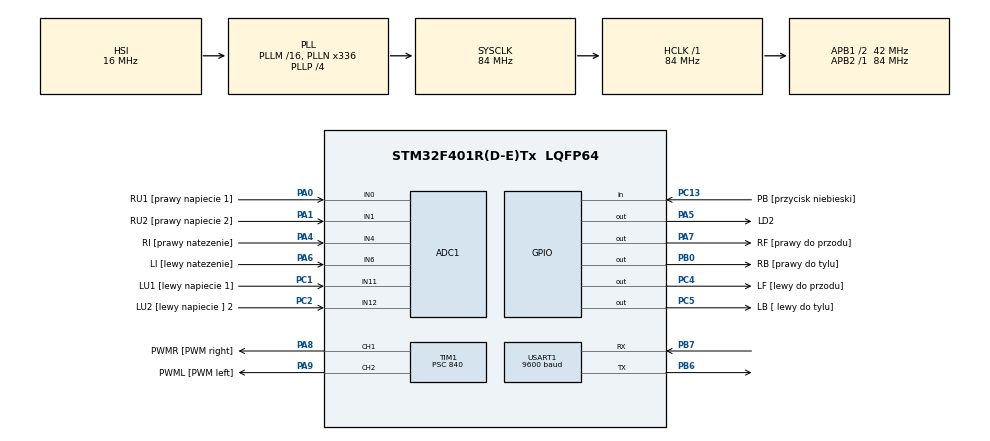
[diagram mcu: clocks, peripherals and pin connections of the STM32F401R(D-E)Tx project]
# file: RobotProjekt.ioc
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ADC1.Channel-0\#ChannelRegularConversion=ADC_CHANNEL_1
ADC1.Channel-1\#ChannelRegularConversion=ADC_CHANNEL_0
ADC1.Channel-2\#ChannelRegularConversion=ADC_CHANNEL_11
ADC1.Channel-3\#ChannelRegularConversion=ADC_CHANNEL_12
ADC1.Channel-4\#ChannelRegularConversion=ADC_CHANNEL_4
ADC1.Channel-5\#ChannelRegularConversion=ADC_CHANNEL_6
ADC1.DMAContinuousRequests=ENABLE
ADC1.EOCSelection=ADC_EOC_SEQ_CONV
ADC1.ExternalTrigConv=ADC_EXTERNALTRIGCONV_T2_TRGO
ADC1.NbrOfConversion=6
ADC1.NbrOfConversionFlag=1
ADC1.Rank-0\#ChannelRegularConversion=1
ADC1.Rank-1\#ChannelRegularConversion=2
ADC1.Rank-2\#ChannelRegularConversion=3
ADC1.Rank-3\#ChannelRegularConversion=4
ADC1.Rank-4\#ChannelRegularConversion=5
ADC1.Rank-5\#ChannelRegularConversion=6
ADC1.SamplingTime-0\#ChannelRegularConversion=ADC_SAMPLETIME_28CYCLES
ADC1.SamplingTime-1\#ChannelRegularConversion=ADC_SAMPLETIME_28CYCLES
ADC1.SamplingTime-2\#ChannelRegularConversion=ADC_SAMPLETIME_28CYCLES
ADC1.SamplingTime-3\#ChannelRegularConversion=ADC_SAMPLETIME_28CYCLES
ADC1.SamplingTime-4\#ChannelRegularConversion=ADC_SAMPLETIME_3CYCLES
ADC1.SamplingTime-5\#ChannelRegularConversion=ADC_SAMPLETIME_3CYCLES
ADC1.ScanConvMode=ENABLE
ADC1.master=1
Dma.ADC1.0.Direction=DMA_PERIPH_TO_MEMORY
Dma.ADC1.0.FIFOMode=DMA_FIFOMODE_DISABLE
Dma.ADC1.0.Instance=DMA2_Stream0
Dma.ADC1.0.MemDataAlignment=DMA_MDATAALIGN_WORD
Dma.ADC1.0.MemInc=DMA_MINC_ENABLE
Dma.ADC1.0.Mode=DMA_CIRCULAR
Dma.ADC1.0.PeriphDataAlignment=DMA_PDATAALIGN_WORD
Dma.ADC1.0.PeriphInc=DMA_PINC_DISABLE
Dma.ADC1.0.Priority=DMA_PRIORITY_LOW
Dma.Request0=ADC1
FREERTOS.BinarySemaphores01=bSem1,Dynamic,NULL;bSem2,Dynamic,NULL;bSem3,Dynamic,NULL
FREERTOS.Tasks01=defaultTask,0,128,StartDefaultTask,Default,NULL,Dynamic,NULL,NULL;btRead,3,128,StartBtRead,Default,NULL,Dynamic,NULL,NULL;motorControl,-1,128,StartMotorControl,Default,NULL,Dynamic,NULL,NULL;adcAvgVal,1,128,StartAdcAvgVal,Default,NULL,Dynamic,NULL,NULL
Mcu.Family=STM32F4
Mcu.Name=STM32F401R(D-E)Tx
Mcu.Package=LQFP64
NVIC.ADC_IRQn=true\:5\:0\:false\:false\:true\:true\:true\:true
NVIC.DMA2_Stream0_IRQn=true\:5\:0\:false\:false\:true\:true\:false\:true
NVIC.PriorityGroup=NVIC_PRIORITYGROUP_4
NVIC.TIM2_IRQn=true\:5\:0\:false\:false\:true\:true\:true\:true
NVIC.TIM3_IRQn=true\:0\:0\:false\:false\:true\:false\:false\:true
NVIC.TimeBase=TIM3_IRQn
NVIC.TimeBaseIP=TIM3
NVIC.USART1_IRQn=true\:5\:0\:true\:false\:true\:true\:true\:true
PA0-WKUP.GPIO_Label=RU1 [prawy napiecie 1]
PA0-WKUP.Signal=ADCx_IN0
PA1.GPIO_Label=RU2 [prawy napiecie 2]
PA1.Signal=ADCx_IN1
PA4.GPIO_Label=RI [prawy natezenie]
PA4.Signal=ADCx_IN4
PA5.GPIO_Label=LD2
PA5.Signal=GPIO_Output
PA6.GPIO_Label=LI [lewy natezenie]
PA6.Signal=ADCx_IN6
PA7.GPIO_Label=RF [prawy do przodu]
PA7.Signal=GPIO_Output
PA8.GPIO_Label=PWMR [PWM right]
PA8.Signal=S_TIM1_CH1
PA9.GPIO_Label=PWML [PWM left]
PA9.Signal=S_TIM1_CH2
PB0.GPIO_Label=RB [prawy do tylu]
PB0.Signal=GPIO_Output
PB6.Mode=Asynchronous
PB6.Signal=USART1_TX
PB7.Mode=Asynchronous
PB7.Signal=USART1_RX
PC1.GPIO_Label=LU1 [lewy napiecie 1]
PC1.Signal=ADCx_IN11
PC13-ANTI_TAMP.GPIO_Label=PB [przycisk niebieski]
PC13-ANTI_TAMP.Signal=GPIO_Input
PC2.GPIO_Label=LU2 [lewy napiecie ] 2
PC2.Signal=ADCx_IN12
PC4.GPIO_Label=LF [lewy do przodu]
PC4.Signal=GPIO_Output
PC5.GPIO_Label=LB [ lewy do tylu]
PC5.Signal=GPIO_Output
ProjectManager.HeapSize=0x200
ProjectManager.StackSize=0x400
ProjectManager.TargetToolchain=STM32CubeIDE
RCC.48MHZClocksFreq_Value=48000000
RCC.AHBFreq_Value=84000000
RCC.APB1CLKDivider=RCC_HCLK_DIV2
RCC.APB1Freq_Value=42000000
RCC.APB1TimFreq_Value=84000000
RCC.APB2Freq_Value=84000000
RCC.APB2TimFreq_Value=84000000
RCC.CortexFreq_Value=84000000
RCC.HCLKFreq_Value=84000000
RCC.HSE_VALUE=8000000
RCC.HSI_VALUE=16000000
RCC.LSE_VALUE=32768
RCC.PLLN=336
RCC.PLLP=RCC_PLLP_DIV4
RCC.PLLQ=7
RCC.SYSCLKFreq_VALUE=84000000
RCC.SYSCLKSource=RCC_SYSCLKSOURCE_PLLCLK
RCC.VCOOutputFreq_Value=336000000
SH.ADCx_IN0.0=ADC1_IN0,IN0
SH.ADCx_IN1.0=ADC1_IN1,IN1
SH.ADCx_IN11.0=ADC1_IN11,IN11
SH.ADCx_IN12.0=ADC1_IN12,IN12
SH.ADCx_IN4.0=ADC1_IN4,IN4
SH.ADCx_IN6.0=ADC1_IN6,IN6
SH.S_TIM1_CH1.0=TIM1_CH1,PWM Generation1 CH1
SH.S_TIM1_CH2.0=TIM1_CH2,PWM Generation2 CH2
TIM1.Channel-PWM\ Generation1\ CH1=TIM_CHANNEL_1
TIM1.Channel-PWM\ Generation2\ CH2=TIM_CHANNEL_2
TIM1.Channel-PWM\ Generation3\ No\ Output=TIM_CHANNEL_3
TIM1.Period=1000
TIM1.Prescaler=840
TIM2.Period=4
TIM2.Prescaler=5599
TIM2.TIM_MasterOutputTrigger=TIM_TRGO_UPDATE
USART1.BaudRate=9600
USART1.VirtualMode=VM_ASYNC
VP_FREERTOS_VS_CMSIS_V1.Mode=CMSIS_V1
VP_SYS_VS_tim3.Mode=TIM3
VP_TIM1_VS_ClockSourceINT.Mode=Internal
VP_TIM1_VS_no_output3.Mode=PWM Generation3 No Output
VP_TIM2_VS_ClockSourceINT.Mode=Internal
board=NUCLEO-F401RE

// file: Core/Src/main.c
/* USER CODE BEGIN Header */
/**
  ******************************************************************************
  * @file           : main.c
  * @brief          : Main program body
  ******************************************************************************
  * @attention
  *
  * <h2><center>&copy; Copyright (c) 2020 STMicroelectronics.
  * All rights reserved.</center></h2>
  *
  * This software component is licensed by ST under BSD 3-Clause license,
  * the "License"; You may not use this file except in compliance with the
  * License. You may obtain a copy of the License at:
  *                        opensource.org/licenses/BSD-3-Clause
  *
  ******************************************************************************
  */
/* USER CODE END Header */

#include "main.h"
#include "cmsis_os.h"
#include "adc.h"
#include "dma.h"
#include "tim.h"
#include "usart.h"
#include "gpio.h"

/* USER CODE BEGIN PV */
uint32_t adcVal[6];
double adcAvgVal[6];
uint8_t znak;
extern osSemaphoreId bSem1Handle;
extern osSemaphoreId bSem2Handle;

/* USER CODE END PV */

void SystemClock_Config(void);
void MX_FREERTOS_Init(void);

int main(void)
{

  /* MCU Configuration--------------------------------------------------------*/

  /* Reset of all peripherals, Initializes the Flash interface and the Systick. */
  HAL_Init();

  /* Configure the system clock */
  SystemClock_Config();

  /* Initialize all configured peripherals */
  MX_GPIO_Init();
  MX_DMA_Init();
  MX_ADC1_Init();
  MX_TIM2_Init();
  MX_TIM1_Init();
  MX_USART1_UART_Init();
  /* USER CODE BEGIN 2 */

  while(HAL_GPIO_ReadPin(PB_GPIO_Port, PB_Pin));
  /* USER CODE END 2 */

  /* Call init function for freertos objects (in freertos.c) */
  MX_FREERTOS_Init();

  /* Start scheduler */
  osKernelStart();

  /* We should never get here as control is now taken by the scheduler */

  /* Infinite loop */
  while (1)
  {

  }
}

void SystemClock_Config(void)
{
  RCC_OscInitTypeDef RCC_OscInitStruct = {0};
  RCC_ClkInitTypeDef RCC_ClkInitStruct = {0};

  /** Configure the main internal regulator output voltage
  */
  __HAL_RCC_PWR_CLK_ENABLE();
  __HAL_PWR_VOLTAGESCALING_CONFIG(PWR_REGULATOR_VOLTAGE_SCALE2);
  /** Initializes the CPU, AHB and APB busses clocks
  */
  RCC_OscInitStruct.OscillatorType = RCC_OSCILLATORTYPE_HSI;
  RCC_OscInitStruct.HSIState = RCC_HSI_ON;
  RCC_OscInitStruct.HSICalibrationValue = RCC_HSICALIBRATION_DEFAULT;
  RCC_OscInitStruct.PLL.PLLState = RCC_PLL_ON;
  RCC_OscInitStruct.PLL.PLLSource = RCC_PLLSOURCE_HSI;
  RCC_OscInitStruct.PLL.PLLM = 16;
  RCC_OscInitStruct.PLL.PLLN = 336;
  RCC_OscInitStruct.PLL.PLLP = RCC_PLLP_DIV4;
  RCC_OscInitStruct.PLL.PLLQ = 7;
  if (HAL_RCC_OscConfig(&RCC_OscInitStruct) != HAL_OK)
  {
    Error_Handler();
  }
  /** Initializes the CPU, AHB and APB busses clocks
  */
  RCC_ClkInitStruct.ClockType = RCC_CLOCKTYPE_HCLK|RCC_CLOCKTYPE_SYSCLK
                              |RCC_CLOCKTYPE_PCLK1|RCC_CLOCKTYPE_PCLK2;
  RCC_ClkInitStruct.SYSCLKSource = RCC_SYSCLKSOURCE_PLLCLK;
  RCC_ClkInitStruct.AHBCLKDivider = RCC_SYSCLK_DIV1;
  RCC_ClkInitStruct.APB1CLKDivider = RCC_HCLK_DIV2;
  RCC_ClkInitStruct.APB2CLKDivider = RCC_HCLK_DIV1;

  if (HAL_RCC_ClockConfig(&RCC_ClkInitStruct, FLASH_LATENCY_2) != HAL_OK)
  {
    Error_Handler();
  }
}

/* USER CODE BEGIN 4 */
void HAL_UART_RxCpltCallback(UART_HandleTypeDef *huart){
	/*

	*/

	  if(huart->Instance == USART1){
		  xSemaphoreGiveFromISR(bSem1Handle, NULL);
	 	}
		HAL_UART_Receive_IT(&huart1, &znak, 1);
}
void HAL_ADC_ConvCpltCallback(ADC_HandleTypeDef* hadc1)
{
 // HAL_GPIO_TogglePin(LD2_GPIO_Port, LD2_Pin); //test czy dziala
	xSemaphoreGiveFromISR(bSem2Handle, NULL);

}

/* USER CODE END 4 */

void HAL_TIM_PeriodElapsedCallback(TIM_HandleTypeDef *htim)
{
  if (htim->Instance == TIM3) {
    HAL_IncTick();
  }
}

void Error_Handler(void)
{
}

/************************ (C) COPYRIGHT STMicroelectronics *****END OF FILE****/

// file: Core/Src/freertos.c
/* USER CODE BEGIN Header */
/**
  ******************************************************************************
  * File Name          : freertos.c
  * Description        : Code for freertos applications
  ******************************************************************************
  * @attention
  *
  * <h2><center>&copy; Copyright (c) 2020 STMicroelectronics.
  * All rights reserved.</center></h2>
  *
  * This software component is licensed by ST under Ultimate Liberty license
  * SLA0044, the "License"; You may not use this file except in compliance with
  * the License. You may obtain a copy of the License at:
  *                             www.st.com/SLA0044
  *
  ******************************************************************************
  */
/* USER CODE END Header */

#include "FreeRTOS.h"
#include "task.h"
#include "main.h"
#include "cmsis_os.h"

/* USER CODE BEGIN Includes */
#include "usart.h"
#include "tim.h"
#include "adc.h"
/* USER CODE END Includes */

/* USER CODE BEGIN Variables */

uint8_t drDir;
uint8_t tekst[30];
uint16_t dl_tekst;
double napiecie[2];
double natezenie[2];
double oporWew[2] = {11 , 11}; //zmierzyć opor wew silnikow
double predkoscPomiar[2];
double beta[2] = {0.05, 0.05};
int predkosc = 200; //predkosc poczatkowa 0-100
double dpulse[2] = {200, 200};
double integral[2] = {0, 0};
int pulse[2] = {200, 200};
int licznik;
int blokada;
double Kp = 0.7;
double Ki = 0.01;

extern uint8_t znak;
extern uint32_t adcVal[6];
extern double adcAvgVal[6];

/* USER CODE END Variables */
osThreadId defaultTaskHandle;
osThreadId btReadHandle;
osThreadId motorControlHandle;
osThreadId adcAvgValHandle;
osSemaphoreId bSem1Handle;
osSemaphoreId bSem2Handle;
osSemaphoreId bSem3Handle;

/* USER CODE BEGIN FunctionPrototypes */
void pomiarBeta(void);
/* USER CODE END FunctionPrototypes */

void StartDefaultTask(void const * argument);
void StartBtRead(void const * argument);
void StartMotorControl(void const * argument);
void StartAdcAvgVal(void const * argument);

void MX_FREERTOS_Init(void); /* (MISRA C 2004 rule 8.1) */

/* GetIdleTaskMemory prototype (linked to static allocation support) */
void vApplicationGetIdleTaskMemory( StaticTask_t **ppxIdleTaskTCBBuffer, StackType_t **ppxIdleTaskStackBuffer, uint32_t *pulIdleTaskStackSize );

/* USER CODE BEGIN GET_IDLE_TASK_MEMORY */
static StaticTask_t xIdleTaskTCBBuffer;
static StackType_t xIdleStack[configMINIMAL_STACK_SIZE];

void vApplicationGetIdleTaskMemory( StaticTask_t **ppxIdleTaskTCBBuffer, StackType_t **ppxIdleTaskStackBuffer, uint32_t *pulIdleTaskStackSize )
{
  *ppxIdleTaskTCBBuffer = &xIdleTaskTCBBuffer;
  *ppxIdleTaskStackBuffer = &xIdleStack[0];
  *pulIdleTaskStackSize = configMINIMAL_STACK_SIZE;
  /* place for user code */
}
/* USER CODE END GET_IDLE_TASK_MEMORY */

void MX_FREERTOS_Init(void) {
  /* USER CODE BEGIN Init */

	  HAL_TIM_Base_Start(&htim2);
	  HAL_ADC_Start_DMA(&hadc1, adcVal, 6);
	  HAL_TIM_PWM_Start(&htim1, TIM_CHANNEL_1);
	  HAL_TIM_PWM_Start(&htim1, TIM_CHANNEL_2);
	  HAL_UART_Receive_IT(&huart1, &znak, 1);

  /* USER CODE END Init */

  /* Create the semaphores(s) */
  /* definition and creation of bSem1 */
  osSemaphoreDef(bSem1);
  bSem1Handle = osSemaphoreCreate(osSemaphore(bSem1), 1);

  /* definition and creation of bSem2 */
  osSemaphoreDef(bSem2);
  bSem2Handle = osSemaphoreCreate(osSemaphore(bSem2), 1);

  /* definition and creation of bSem3 */
  osSemaphoreDef(bSem3);
  bSem3Handle = osSemaphoreCreate(osSemaphore(bSem3), 1);

  /* USER CODE BEGIN RTOS_SEMAPHORES */
  /* add semaphores, ... */
  xSemaphoreTake(bSem1Handle, osWaitForever);
  /* USER CODE END RTOS_SEMAPHORES */

  /* Create the thread(s) */
  /* definition and creation of defaultTask */
  osThreadDef(defaultTask, StartDefaultTask, osPriorityNormal, 0, 128);
  defaultTaskHandle = osThreadCreate(osThread(defaultTask), NULL);

  /* definition and creation of btRead */
  osThreadDef(btRead, StartBtRead, osPriorityRealtime, 0, 128);
  btReadHandle = osThreadCreate(osThread(btRead), NULL);

  /* definition and creation of motorControl */
  osThreadDef(motorControl, StartMotorControl, osPriorityBelowNormal, 0, 128);
  motorControlHandle = osThreadCreate(osThread(motorControl), NULL);

  /* definition and creation of adcAvgVal */
  osThreadDef(adcAvgVal, StartAdcAvgVal, osPriorityAboveNormal, 0, 128);
  adcAvgValHandle = osThreadCreate(osThread(adcAvgVal), NULL);

}

void StartDefaultTask(void const * argument)
{
  /* USER CODE BEGIN StartDefaultTask */
  /* Infinite loop */
  for(;;)
  {
	  HAL_GPIO_TogglePin(LD2_GPIO_Port, LD2_Pin);
    osDelay(500);
  }
  /* USER CODE END StartDefaultTask */
}

void StartBtRead(void const * argument)
{
  /* USER CODE BEGIN StartBtRead */
  /* Infinite loop */
  for(;;)
  {
	  osSemaphoreWait(bSem1Handle, osWaitForever);
	  switch(znak){
	  case 'e':
		  HAL_GPIO_WritePin(LD2_GPIO_Port, LD2_Pin, GPIO_PIN_SET);
		  dl_tekst = sprintf(tekst, "Dioda on\n");
		  break;
	  case 'd':
		  HAL_GPIO_WritePin(LD2_GPIO_Port, LD2_Pin, GPIO_PIN_RESET);
		  dl_tekst = sprintf(tekst, "Dioda off\n");
		  break;
	  case 'f':
		  doPrzodu();
		  drDir = 'f';
		  dl_tekst = sprintf(tekst, "Do przodu!\n");
		  //dpulse[0] = predkosc;
		  //dpulse[1] = predkosc;
		  break;
	  case 'b':
		  doTylu();
		  drDir = 'b';
		  dl_tekst = sprintf(tekst, "Do tylu!\n");
		  //dpulse[0] = predkosc;
		  //dpulse[1] = predkosc;
		  break;
	  case 'l':
		  wLewo();
		  drDir = 'l';
		  dl_tekst = sprintf(tekst, "W lewo!\n");
		  //dpulse[0] = predkosc;
		  //dpulse[1] = predkosc;
		  break;
	  case 'r':
		  wPrawo();
		  drDir = 'r';
		  dl_tekst = sprintf(tekst, "W prawo!\n");
		  //dpulse[0] = predkosc;
		  //dpulse[1] = predkosc;
		  break;
	  case 's':
		  stoj();
		  drDir = 's';
		  dl_tekst = sprintf(tekst, "STOP!\n");
		  break;
	  case 'a':
		  if(predkosc >= 1000){
			  predkosc = 1000;
			  dl_tekst = sprintf(tekst, "Predkosc maksymalna!\n");
			  break;
		  }
		  predkosc += 50;
		  //dpulse[0] = predkosc;
		  //dpulse[1] = predkosc;
		  dl_tekst = sprintf(tekst, "Predkosc zwiekszona do %d %!\n", predkosc);
		  break;
	  case 'p':
		  if(predkosc <= 0){
			  predkosc = 0;
			  dl_tekst = sprintf(tekst, "Predkosc minimalna!\n");
			  break;
		  }
		  predkosc -= 50;
		  //dpulse[0] = predkosc;
		  //dpulse[1] = predkosc;
		  dl_tekst = sprintf(tekst, "Predkosc zmniejszona do %d %!\n", predkosc);
		  break;
	  case 'x':
		  pomiarBeta();
		  break;
	  default:
		  dl_tekst = sprintf(tekst, "Bledny kod\n");
	  }
	  HAL_UART_Transmit_IT(&huart1, tekst, dl_tekst);
  }
  /* USER CODE END StartBtRead */
}

void StartMotorControl(void const * argument)
{
  /* USER CODE BEGIN StartMotorControl */
  /* Infinite loop */
  for(;;)
  {
	  osSemaphoreWait(bSem3Handle, osWaitForever);

	  napiecie[0] = fabs(adcAvgVal[0]-adcAvgVal[1])*0.004593; //0.00014138 = 3.3 / 4095 / 1000 * 5700
	  napiecie[1] = fabs(adcAvgVal[2]-adcAvgVal[3])*0.004593; //dziala z kondensatorami

	  //napiecie[0] = pulse[0]/1000.*9.; //ze wzgledu na slaby odczyt pwm
	  //napiecie[1] = pulse[1]/1000.*9.; //ze wzgledu na slaby odczytw pwm

	  natezenie[0] = adcAvgVal[4]*0.0008059;
	  natezenie[1] = adcAvgVal[5]*0.0008059;
	  predkoscPomiar[0]=0.95*(napiecie[0]-natezenie[0]*oporWew[0])/beta[0];
	  predkoscPomiar[1]=(napiecie[1]-natezenie[1]*oporWew[1])/beta[1];
	  if(predkoscPomiar[0] < 0) predkoscPomiar[0] = 0;
	  if(predkoscPomiar[1] < 0) predkoscPomiar[1] = 0;
		  integral[0]+=((predkosc-predkoscPomiar[0]) * Ki);
		  integral[1]+=((predkosc-predkoscPomiar[1]) * Ki);
		  if(drDir == 's'){
			  integral[0] = 0;
			  integral[1] = 0;
		  }
		  dpulse[0] = integral[0] + Kp * (predkosc-predkoscPomiar[0]);
		  dpulse[1] = integral[1] + Kp * (predkosc-predkoscPomiar[1]);
		  //pulse[0] = (int) dpulse[0];
		  //pulse[1] = (int) dpulse[1];
		  if(dpulse[0]>1000){
			  dpulse[0]=1000;
			  integral[0]-=((predkosc-predkoscPomiar[0]) * Ki);
		  }
		  if(dpulse[1]>1000){
			  dpulse[1]=1000;
			  integral[1]-=((predkosc-predkoscPomiar[1]) * Ki);
		  }
		  if(dpulse[0]<0) dpulse[0]=0;
		  if(dpulse[1]<0) dpulse[1]=0;
		  htim1.Instance->CCR1 = dpulse[0];
		  htim1.Instance->CCR2 = dpulse[1];
		  osDelay(10); //bylo git przy 10

	  if(licznik == 500){
		  int PR = (int)(1000*napiecie[0] * natezenie[0]);
		  int PL = (int)(1000*napiecie[1] * natezenie[1]);
		  dl_tekst = sprintf(tekst, "Pow R = %dmW Pow L = %dmW\n", PR, PL);
		  HAL_UART_Transmit_IT(&huart1, tekst, dl_tekst);
		  licznik = 0;
	  }
	  licznik+=1;
	  if((drDir == 'f' || drDir == 'b') && (predkoscPomiar[0] < 0.15 * predkosc || predkoscPomiar[1] < 0.15 * predkosc)){
		  blokada += 1;
	  }
	  else{
		  blokada = 0;
	  }
	  if(blokada == 100){
		  dl_tekst = sprintf(tekst, "Wykryto przeszkode!\n");
		  HAL_UART_Transmit_IT(&huart1, tekst, dl_tekst);
		  dpulse[0] = 300;
		  dpulse[1] = 300;
		  htim1.Instance->CCR1 = dpulse[0];
		  htim1.Instance->CCR2 = dpulse[1];
		  if(drDir == 'f') doTylu();
		  switch(drDir){
		  case 'f':
			  doTylu();
			  break;
		  case 'b':
			  doPrzodu();
			  break;
		  case 'l':
			  wPrawo();
			  break;
		  case 'r':
			  wLewo();
			  break;
		  }
		  HAL_Delay(700);
		  stoj();
		  wLewo();
		  HAL_Delay(800);
		  switch(drDir){
		  case 'f':
			  doPrzodu();
			  break;
		  case 'b':
			  doTylu();
			  break;
		  }
		  blokada = 0;
		  integral[0] = 0;
		  integral[1] = 0;
		  HAL_Delay(200);

	  }

	  xSemaphoreGive(bSem3Handle);
  }
  /* USER CODE END StartMotorControl */
}

void StartAdcAvgVal(void const * argument)
{
  /* USER CODE BEGIN StartAdcAvgVal */
  /* Infinite loop */
  for(;;)
  {
	  osSemaphoreWait(bSem2Handle, osWaitForever);
	  for(int i = 0; i < 4; i++){
		  adcAvgVal[i]=adcAvgVal[i]*0.9+adcVal[i]*0.1; //uśrednianie

	  }
	  for(int i = 4; i < 6; i++){
		  adcAvgVal[i]=adcAvgVal[i]*0.99+adcVal[i]*0.01; //uśrednianie

	  }
    //osDelay(1); //czy potrzeba? ma dzialac szybko
  }
  /* USER CODE END StartAdcAvgVal */
}

/* USER CODE BEGIN Application */

void pomiarBeta(){
	osSemaphoreWait(bSem3Handle, osWaitForever);
	 HAL_GPIO_WritePin(RF_GPIO_Port, RF_Pin, GPIO_PIN_SET);
	 HAL_GPIO_WritePin(LF_GPIO_Port, LF_Pin, GPIO_PIN_SET);
	 HAL_GPIO_WritePin(RB_GPIO_Port, RB_Pin, GPIO_PIN_RESET);
	 HAL_GPIO_WritePin(LB_GPIO_Port, LB_Pin, GPIO_PIN_RESET);

	 htim1.Instance->CCR1 = 700;
	 htim1.Instance->CCR2 = 700;

	 osDelay(3000);

	 beta[0]=((fabs(adcAvgVal[0]-adcAvgVal[1])*0.004593)-adcAvgVal[4]*0.0008059*oporWew[0])/1000; //dziala z kondensatorami
	 beta[1]=((fabs(adcAvgVal[2]-adcAvgVal[3])*0.004593)-adcAvgVal[5]*0.0008059*oporWew[1])/1000; //dziala z kondensatorami

	 //beta[0]=(9-adcAvgVal[4]*0.0008059*oporWew[0])/1000; //ze wzgledu na slaby udczyt pwm
	 //beta[1]=(9-adcAvgVal[5]*0.0008059*oporWew[1])/1000; //ze wzgledu na slaby odzcyt pwm

	 htim1.Instance->CCR1 = predkosc;
	 htim1.Instance->CCR2 = predkosc;

	 HAL_GPIO_WritePin(RF_GPIO_Port, RF_Pin, GPIO_PIN_RESET);
	 HAL_GPIO_WritePin(LF_GPIO_Port, LF_Pin, GPIO_PIN_RESET);
	 HAL_GPIO_WritePin(RB_GPIO_Port, RB_Pin, GPIO_PIN_RESET);
	 HAL_GPIO_WritePin(LB_GPIO_Port, LB_Pin, GPIO_PIN_RESET);
	 drDir = 's';
	 int R = (int)10000*beta[0];
	 int L = (int)10000*beta[1];
	 dl_tekst = sprintf(tekst, "B R = %d B L = %d\n", R, L);
	 HAL_UART_Transmit_IT(&huart1, tekst, dl_tekst);

	 xSemaphoreGive(bSem3Handle);

}

/* USER CODE END Application */

/************************ (C) COPYRIGHT STMicroelectronics *****END OF FILE****/
